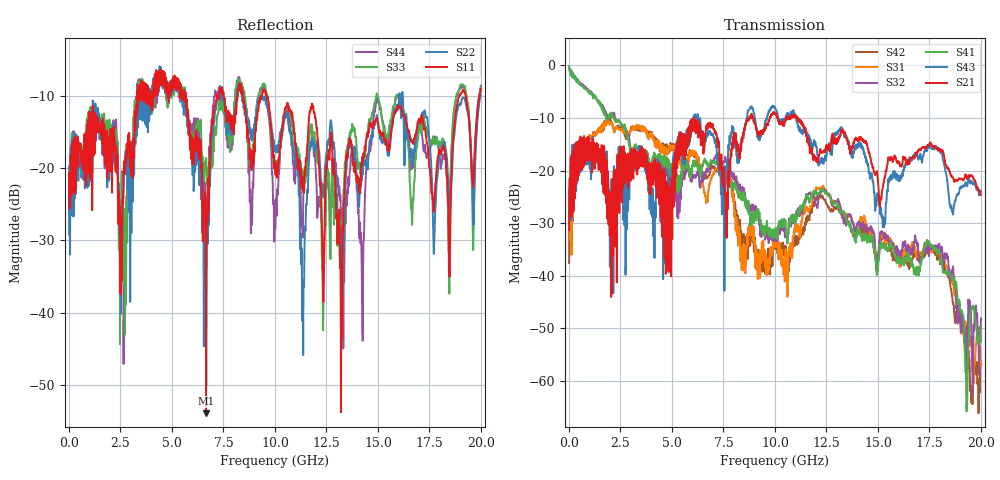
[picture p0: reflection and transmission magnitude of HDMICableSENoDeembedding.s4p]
! C:\LeCroy\WavePulser\Measurements\HDMICableSENoDeembedding.s4p
! Tue Aug  6 13:28:56 2019
!!Measured using Teledyne LeCroy WavePulser LCRY4096E1
!SingleEnded
! freq S11 S12 S13 S14
! S21 S22 S23 S24
! S31 S32 S33 S34
! S41 S42 S43 S44
# MHz S MA R 50.00
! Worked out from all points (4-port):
!   4000 points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, 5 MHz to 20 GHz, reference 50 ohm
!   strongest paths, dB at 5 MHz, 5.005 GHz, 10.01 GHz, 15.01 GHz, 20 GHz:
!     S21: -31.3, -26.4, -9.1, -22.3, -24.6
!     S43: -29.9, -21.7, -8.0, -25.0, -23.9
!     S41: -0.2, -21.2, -32.4, -38.7, -49.6
!     S32: -0.2, -23.5, -32.8, -36.2, -48.2
!     S31: -28.9, -15.8, -34.6, -35.8, -57.1
!     S42: -37.5, -16.0, -34.9, -37.5, -57.0
!   lowest |S11| = -54.0 dB at 6.655 GHz (marker M1), VSWR 1.00, Z = 50 + j0.197 ohm
!   |S11| at or under -10 dB: start of sweep to 3.299 GHz; 5.667 GHz to 7.172 GHz (1.505 GHz wide, 23.4 % of centre); 9.601 GHz to 18.94 GHz (9.344 GHz wide, 65.5 % of centre)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
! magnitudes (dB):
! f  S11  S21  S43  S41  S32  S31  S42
! 5 MHz  -25.5  -31.3  -29.9  -0.2  -0.2  -28.9  -37.5
! 2.735 GHz  -18.4  -19.0  -25.6  -12.1  -12.0  -12.4  -13.0
! 4.435 GHz  -8.1  -20.3  -23.4  -17.0  -19.2  -15.1  -15.1
! 6.655 GHz  -54.0  -11.7  -13.8  -18.2  -20.0  -25.7  -21.2
! 7.355 GHz  -9.1  -18.7  -20.4  -19.3  -17.6  -20.7  -20.6
! 11.34 GHz  -22.9  -11.5  -13.1  -26.5  -27.5  -28.3  -30.9
! 20 GHz  -9.0  -24.6  -23.9  -49.6  -48.2  -57.1  -57.0
